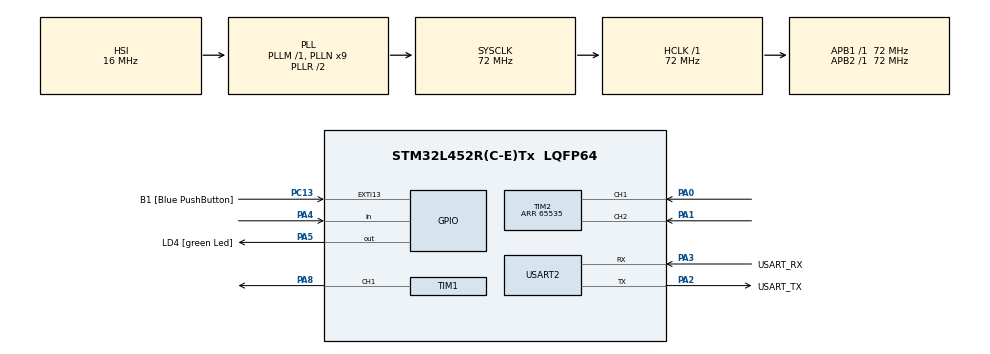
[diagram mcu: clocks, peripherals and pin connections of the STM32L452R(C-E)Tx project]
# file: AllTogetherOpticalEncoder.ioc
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Dma.Request0=TIM1_CH1
Dma.TIM1_CH1.0.Direction=DMA_MEMORY_TO_PERIPH
Dma.TIM1_CH1.0.Instance=DMA1_Channel2
Dma.TIM1_CH1.0.MemDataAlignment=DMA_MDATAALIGN_HALFWORD
Dma.TIM1_CH1.0.MemInc=DMA_MINC_ENABLE
Dma.TIM1_CH1.0.Mode=DMA_NORMAL
Dma.TIM1_CH1.0.PeriphDataAlignment=DMA_PDATAALIGN_HALFWORD
Dma.TIM1_CH1.0.PeriphInc=DMA_PINC_DISABLE
Dma.TIM1_CH1.0.Priority=DMA_PRIORITY_VERY_HIGH
Mcu.Family=STM32L4
Mcu.Name=STM32L452R(C-E)Tx
Mcu.Package=LQFP64
NVIC.DMA1_Channel2_IRQn=true\:0\:0\:false\:false\:true\:false\:true\:true
NVIC.PriorityGroup=NVIC_PRIORITYGROUP_4
NVIC.USART2_IRQn=true\:0\:0\:false\:false\:true\:true\:true\:true
PA0.Signal=S_TIM2_CH1
PA1.Signal=S_TIM2_CH2
PA13\ (JTMS/SWDIO).GPIO_Label=TMS
PA13\ (JTMS/SWDIO).Mode=Serial_Wire
PA13\ (JTMS/SWDIO).Signal=SYS_JTMS-SWDIO
PA14\ (JTCK/SWCLK).GPIO_Label=TCK
PA14\ (JTCK/SWCLK).Mode=Serial_Wire
PA14\ (JTCK/SWCLK).Signal=SYS_JTCK-SWCLK
PA2.GPIO_Label=USART_TX
PA2.GPIO_Mode=GPIO_MODE_AF_PP
PA2.GPIO_PuPd=GPIO_NOPULL
PA2.GPIO_Speed=GPIO_SPEED_FREQ_VERY_HIGH
PA2.Mode=Asynchronous
PA2.Signal=USART2_TX
PA3.GPIO_Label=USART_RX
PA3.GPIO_Mode=GPIO_MODE_AF_PP
PA3.GPIO_PuPd=GPIO_NOPULL
PA3.GPIO_Speed=GPIO_SPEED_FREQ_VERY_HIGH
PA3.Mode=Asynchronous
PA3.Signal=USART2_RX
PA4.GPIO_PuPd=GPIO_PULLUP
PA4.Signal=GPIO_Input
PA5.GPIO_Label=LD4 [green Led]
PA5.GPIO_ModeDefaultOutputPP=GPIO_MODE_OUTPUT_PP
PA5.GPIO_PuPd=GPIO_NOPULL
PA5.GPIO_Speed=GPIO_SPEED_FREQ_LOW
PA5.Signal=GPIO_Output
PA8.Signal=S_TIM1_CH1
PB3\ (JTDO/TRACESWO).GPIO_Label=SWO
PB3\ (JTDO/TRACESWO).Signal=SYS_JTDO-SWO
PC13.GPIO_Label=B1 [Blue PushButton]
PC13.GPIO_ModeDefaultEXTI=GPIO_MODE_IT_FALLING
PC13.GPIO_PuPd=GPIO_NOPULL
PC13.Signal=GPXTI13
PC14-OSC32_IN\ (PC14).Mode=LSE-External-Oscillator
PC14-OSC32_IN\ (PC14).Signal=RCC_OSC32_IN
PC15-OSC32_OUT\ (PC15).Mode=LSE-External-Oscillator
PC15-OSC32_OUT\ (PC15).Signal=RCC_OSC32_OUT
PH0-OSC_IN\ (PH0).Mode=HSE-External-Oscillator
PH0-OSC_IN\ (PH0).Signal=RCC_OSC_IN
PH1-OSC_OUT\ (PH1).Mode=HSE-External-Oscillator
PH1-OSC_OUT\ (PH1).Signal=RCC_OSC_OUT
ProjectManager.HeapSize=0x200
ProjectManager.StackSize=0x400
ProjectManager.TargetToolchain=STM32CubeIDE
RCC.ADCFreq_Value=64000000
RCC.AHBFreq_Value=72000000
RCC.APB1Freq_Value=72000000
RCC.APB1TimFreq_Value=72000000
RCC.APB2Freq_Value=72000000
RCC.APB2TimFreq_Value=72000000
RCC.CortexFreq_Value=72000000
RCC.HCLKFreq_Value=72000000
RCC.HSE_VALUE=8000000
RCC.HSI48_VALUE=48000000
RCC.HSI_VALUE=16000000
RCC.MSI_VALUE=4000000
RCC.PLLN=9
RCC.PLLSourceVirtual=RCC_PLLSOURCE_HSI
RCC.PREFETCH_ENABLE=1
RCC.SYSCLKFreq_VALUE=72000000
RCC.SYSCLKSource=RCC_SYSCLKSOURCE_PLLCLK
RCC.USBFreq_Value=64000000
RCC.VCOOutputFreq_Value=144000000
SH.S_TIM1_CH1.0=TIM1_CH1,PWM Generation1 CH1
SH.S_TIM2_CH1.0=TIM2_CH1,Encoder_Interface
SH.S_TIM2_CH2.0=TIM2_CH2,Encoder_Interface
TIM1.Channel-PWM\ Generation1\ CH1=TIM_CHANNEL_1
TIM1.Period=90-1
TIM1.RepetitionCounter=0
TIM2.AutoReloadPreload=TIM_AUTORELOAD_PRELOAD_ENABLE
TIM2.EncoderMode=TIM_ENCODERMODE_TI12
TIM2.IC1Filter=10
TIM2.Period=65535
USART2.VirtualMode-Asynchronous=VM_ASYNC
board=NUCLEO-L452RE

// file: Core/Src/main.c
/* USER CODE BEGIN Header */
/**
  ******************************************************************************
  * @file           : main.c
  * @brief          : Main program body
  ******************************************************************************
  * @attention
  *
  * Copyright (c) 2023 STMicroelectronics.
  * All rights reserved.
  *
  * This software is licensed under terms that can be found in the LICENSE file
  * in the root directory of this software component.
  * If no LICENSE file comes with this software, it is provided AS-IS.
  *
  ******************************************************************************
  */
/* USER CODE END Header */
#include "main.h"

/* USER CODE BEGIN Includes */
#include "math.h"
#include "stdio.h"
#include "stdlib.h"
#include "stm32l4xx_hal.h"
#define TX_TIMEOUT_MS 1000
#define WAIT_TIME_MS 100
#define WAIT_TIME_TEMPORAL_FIX_MS 100
#define EZ 1

/* USER CODE END Includes */

TIM_HandleTypeDef htim1;
TIM_HandleTypeDef htim2;
DMA_HandleTypeDef hdma_tim1_ch1;

UART_HandleTypeDef huart2;

void SystemClock_Config(void);
static void MX_GPIO_Init(void);
static void MX_DMA_Init(void);
static void MX_USART2_UART_Init(void);
static void MX_TIM1_Init(void);
static void MX_TIM2_Init(void);

/* USER CODE BEGIN 0 */

#define MAX_LED 4 //Number of leds being used

uint8_t LED_Data[MAX_LED][4]; //Variable for led data before brightness adjust
uint8_t LED_Bri[MAX_LED][4];  //Variable for led data after brightness adjust
uint16_t pwmData[(24*MAX_LED)+50];

void Set_LED (int LEDid, int Red, int Green, int Blue){
	LED_Data[LEDid][0] = LEDid;
	LED_Data[LEDid][1] = Green;
	LED_Data[LEDid][2] = Red;
	LED_Data[LEDid][3] = Blue;
}

void Set_Brightness_LED (float brightness)  // 0-1
{
	if (brightness > 1) brightness = 1;
	if (brightness < 0) brightness = 0;
	for (int i=0; i<MAX_LED; i++)
	{
		LED_Bri[i][0] = LED_Data[i][0];
		for (int j=1; j<4; j++)
		{
			LED_Bri[i][j] = (int)(LED_Data[i][j])/(brightness);
		}
	}
}

void Apply_LED (void)
{
	uint32_t indx=0;
	uint32_t color;

	for (int i= 0; i<MAX_LED; i++)
	{
		color = ((LED_Bri[i][1]<<16) | (LED_Bri[i][2]<<8) | (LED_Bri[i][3]));
		for (int i=23; i>=0; i--)
		{
			if (color&(1<<i))
			{
				pwmData[indx] = 60;  // 2/3 of 90
			}

			else pwmData[indx] = 30;  // 1/3 of 90

			indx++;
		}
	}

	for (int i=0; i<50; i++)
	{
		pwmData[indx] = 0;
		indx++;
	}

	HAL_TIM_PWM_Start_DMA(&htim1, TIM_CHANNEL_1, (uint32_t *)pwmData, indx);
	HAL_Delay(WAIT_TIME_TEMPORAL_FIX_MS);
	HAL_TIM_PWM_Stop_DMA(&htim1, TIM_CHANNEL_1);
}

int Get_Encoder_Val(void){
	return TIM2->CNT/4;
}

/* USER CODE END 0 */

int main(void)
{

  /* MCU Configuration--------------------------------------------------------*/

  /* Reset of all peripherals, Initializes the Flash interface and the Systick. */
  HAL_Init();

  /* Configure the system clock */
  SystemClock_Config();

  /* Initialize all configured peripherals */
  MX_GPIO_Init();
  MX_DMA_Init();
  MX_USART2_UART_Init();
  MX_TIM1_Init();
  MX_TIM2_Init();
  HAL_TIM_Encoder_Start(&htim2, TIM_CHANNEL_ALL);
  /* USER CODE BEGIN 2 */
  int i;
  for(i=0; i<MAX_LED; i++){
	  Set_LED(i, 255, 255, 255);
  }
  Set_Brightness_LED(0.1);
  Apply_LED();

  int step = 1;
  int Red = 255;
  int Green = 255;
  int Blue = 255;
  int defa = 0;
  int Cont_color = 0;
  int EncoderValP = (Get_Encoder_Val())*step; //Previous value for encoder
  int EncoderValC = 0; //Current value for encoder
  int EncoderDiff = 0;

  /* USER CODE END 2 */

  /* Infinite loop */
  /* USER CODE BEGIN WHILE */
  while (1)
  {
	  EncoderValC = (Get_Encoder_Val())*step;
	  EncoderDiff = EncoderValC - EncoderValP;
	  if(abs(EncoderDiff) > 255) EncoderDiff = 0;
	  if(Cont_color == 0){
		  Red += EncoderDiff;
		  if(Red < 0) Red = 0;
		  else if(Red > 255) Red = 255;
	  } else if(Cont_color == 1){
		  Green += EncoderDiff;
		  if(Green < 0) Green = 0;
		  else if(Green > 255) Green = 255;
	  } else if(Cont_color == 2){
		  Blue += EncoderDiff;
		  if(Blue < 0) Blue = 0;
		  else if(Blue > 255) Blue = 255;
	  }
	  if(HAL_GPIO_ReadPin(GPIOA, GPIO_PIN_4) == GPIO_PIN_RESET){
		  while(HAL_GPIO_ReadPin(GPIOA, GPIO_PIN_4) == GPIO_PIN_RESET){
			  defa = defa;
		  }
		  Cont_color = (Cont_color+1)%3;
	  }
	  for(i=0; i<MAX_LED; i++){
		  Set_LED(i, Red, Green, Blue);
	  }
	  Set_Brightness_LED(1);
	  Apply_LED();
	  if(EZ){
		  if(Cont_color == 0) printf("Red: %d, Green: %d, Blue: %d, Changing Red\r\n", Red, Green, Blue);
		  else if(Cont_color == 1) printf("Red: %d, Green: %d, Blue: %d, Changing Green\r\n", Red, Green, Blue);
		  else printf("Red: %d, Green: %d, Blue: %d, Changing Blue\r\n", Red, Green, Blue);
	  }
	  else{
		  if(Cont_color == 0){
			  printf("Red: %d \r\n", Red);
		  } else if(Cont_color == 1){
			  printf("Green: %d \r\n", Green);
		  } else{
			  printf("Blue: %d \r\n", Blue);
		  }
	  }

	  EncoderValP = EncoderValC;
    /* USER CODE END WHILE */

  }
}

void SystemClock_Config(void)
{
  RCC_OscInitTypeDef RCC_OscInitStruct = {0};
  RCC_ClkInitTypeDef RCC_ClkInitStruct = {0};

  /** Configure the main internal regulator output voltage
  */
  if (HAL_PWREx_ControlVoltageScaling(PWR_REGULATOR_VOLTAGE_SCALE1) != HAL_OK)
  {
    Error_Handler();
  }

  /** Initializes the RCC Oscillators according to the specified parameters
  * in the RCC_OscInitTypeDef structure.
  */
  RCC_OscInitStruct.OscillatorType = RCC_OSCILLATORTYPE_HSI;
  RCC_OscInitStruct.HSIState = RCC_HSI_ON;
  RCC_OscInitStruct.HSICalibrationValue = RCC_HSICALIBRATION_DEFAULT;
  RCC_OscInitStruct.PLL.PLLState = RCC_PLL_ON;
  RCC_OscInitStruct.PLL.PLLSource = RCC_PLLSOURCE_HSI;
  RCC_OscInitStruct.PLL.PLLM = 1;
  RCC_OscInitStruct.PLL.PLLN = 9;
  RCC_OscInitStruct.PLL.PLLP = RCC_PLLP_DIV7;
  RCC_OscInitStruct.PLL.PLLQ = RCC_PLLQ_DIV2;
  RCC_OscInitStruct.PLL.PLLR = RCC_PLLR_DIV2;
  if (HAL_RCC_OscConfig(&RCC_OscInitStruct) != HAL_OK)
  {
    Error_Handler();
  }

  /** Initializes the CPU, AHB and APB buses clocks
  */
  RCC_ClkInitStruct.ClockType = RCC_CLOCKTYPE_HCLK|RCC_CLOCKTYPE_SYSCLK
                              |RCC_CLOCKTYPE_PCLK1|RCC_CLOCKTYPE_PCLK2;
  RCC_ClkInitStruct.SYSCLKSource = RCC_SYSCLKSOURCE_PLLCLK;
  RCC_ClkInitStruct.AHBCLKDivider = RCC_SYSCLK_DIV1;
  RCC_ClkInitStruct.APB1CLKDivider = RCC_HCLK_DIV1;
  RCC_ClkInitStruct.APB2CLKDivider = RCC_HCLK_DIV1;

  if (HAL_RCC_ClockConfig(&RCC_ClkInitStruct, FLASH_LATENCY_4) != HAL_OK)
  {
    Error_Handler();
  }
}

static void MX_TIM1_Init(void)
{

  TIM_MasterConfigTypeDef sMasterConfig = {0};
  TIM_OC_InitTypeDef sConfigOC = {0};
  TIM_BreakDeadTimeConfigTypeDef sBreakDeadTimeConfig = {0};

  htim1.Instance = TIM1;
  htim1.Init.Prescaler = 0;
  htim1.Init.CounterMode = TIM_COUNTERMODE_UP;
  htim1.Init.Period = 90-1;
  htim1.Init.ClockDivision = TIM_CLOCKDIVISION_DIV1;
  htim1.Init.RepetitionCounter = 0;
  htim1.Init.AutoReloadPreload = TIM_AUTORELOAD_PRELOAD_DISABLE;
  if (HAL_TIM_PWM_Init(&htim1) != HAL_OK)
  {
    Error_Handler();
  }
  sMasterConfig.MasterOutputTrigger = TIM_TRGO_RESET;
  sMasterConfig.MasterOutputTrigger2 = TIM_TRGO2_RESET;
  sMasterConfig.MasterSlaveMode = TIM_MASTERSLAVEMODE_DISABLE;
  if (HAL_TIMEx_MasterConfigSynchronization(&htim1, &sMasterConfig) != HAL_OK)
  {
    Error_Handler();
  }
  sConfigOC.OCMode = TIM_OCMODE_PWM1;
  sConfigOC.Pulse = 0;
  sConfigOC.OCPolarity = TIM_OCPOLARITY_HIGH;
  sConfigOC.OCNPolarity = TIM_OCNPOLARITY_HIGH;
  sConfigOC.OCFastMode = TIM_OCFAST_DISABLE;
  sConfigOC.OCIdleState = TIM_OCIDLESTATE_RESET;
  sConfigOC.OCNIdleState = TIM_OCNIDLESTATE_RESET;
  if (HAL_TIM_PWM_ConfigChannel(&htim1, &sConfigOC, TIM_CHANNEL_1) != HAL_OK)
  {
    Error_Handler();
  }
  sBreakDeadTimeConfig.OffStateRunMode = TIM_OSSR_DISABLE;
  sBreakDeadTimeConfig.OffStateIDLEMode = TIM_OSSI_DISABLE;
  sBreakDeadTimeConfig.LockLevel = TIM_LOCKLEVEL_OFF;
  sBreakDeadTimeConfig.DeadTime = 0;
  sBreakDeadTimeConfig.BreakState = TIM_BREAK_DISABLE;
  sBreakDeadTimeConfig.BreakPolarity = TIM_BREAKPOLARITY_HIGH;
  sBreakDeadTimeConfig.BreakFilter = 0;
  sBreakDeadTimeConfig.Break2State = TIM_BREAK2_DISABLE;
  sBreakDeadTimeConfig.Break2Polarity = TIM_BREAK2POLARITY_HIGH;
  sBreakDeadTimeConfig.Break2Filter = 0;
  sBreakDeadTimeConfig.AutomaticOutput = TIM_AUTOMATICOUTPUT_DISABLE;
  if (HAL_TIMEx_ConfigBreakDeadTime(&htim1, &sBreakDeadTimeConfig) != HAL_OK)
  {
    Error_Handler();
  }
  HAL_TIM_MspPostInit(&htim1);

}

static void MX_TIM2_Init(void)
{

  TIM_Encoder_InitTypeDef sConfig = {0};
  TIM_MasterConfigTypeDef sMasterConfig = {0};

  htim2.Instance = TIM2;
  htim2.Init.Prescaler = 0;
  htim2.Init.CounterMode = TIM_COUNTERMODE_UP;
  htim2.Init.Period = 65535;
  htim2.Init.ClockDivision = TIM_CLOCKDIVISION_DIV1;
  htim2.Init.AutoReloadPreload = TIM_AUTORELOAD_PRELOAD_ENABLE;
  sConfig.EncoderMode = TIM_ENCODERMODE_TI12;
  sConfig.IC1Polarity = TIM_ICPOLARITY_RISING;
  sConfig.IC1Selection = TIM_ICSELECTION_DIRECTTI;
  sConfig.IC1Prescaler = TIM_ICPSC_DIV1;
  sConfig.IC1Filter = 10;
  sConfig.IC2Polarity = TIM_ICPOLARITY_RISING;
  sConfig.IC2Selection = TIM_ICSELECTION_DIRECTTI;
  sConfig.IC2Prescaler = TIM_ICPSC_DIV1;
  sConfig.IC2Filter = 0;
  if (HAL_TIM_Encoder_Init(&htim2, &sConfig) != HAL_OK)
  {
    Error_Handler();
  }
  sMasterConfig.MasterOutputTrigger = TIM_TRGO_RESET;
  sMasterConfig.MasterSlaveMode = TIM_MASTERSLAVEMODE_DISABLE;
  if (HAL_TIMEx_MasterConfigSynchronization(&htim2, &sMasterConfig) != HAL_OK)
  {
    Error_Handler();
  }

}

static void MX_USART2_UART_Init(void)
{

  huart2.Instance = USART2;
  huart2.Init.BaudRate = 115200;
  huart2.Init.WordLength = UART_WORDLENGTH_8B;
  huart2.Init.StopBits = UART_STOPBITS_1;
  huart2.Init.Parity = UART_PARITY_NONE;
  huart2.Init.Mode = UART_MODE_TX_RX;
  huart2.Init.HwFlowCtl = UART_HWCONTROL_NONE;
  huart2.Init.OverSampling = UART_OVERSAMPLING_16;
  huart2.Init.OneBitSampling = UART_ONE_BIT_SAMPLE_DISABLE;
  huart2.AdvancedInit.AdvFeatureInit = UART_ADVFEATURE_NO_INIT;
  if (HAL_UART_Init(&huart2) != HAL_OK)
  {
    Error_Handler();
  }

}

static void MX_DMA_Init(void)
{

  /* DMA controller clock enable */
  __HAL_RCC_DMA1_CLK_ENABLE();

  /* DMA interrupt init */
  /* DMA1_Channel2_IRQn interrupt configuration */
  HAL_NVIC_SetPriority(DMA1_Channel2_IRQn, 0, 0);
  HAL_NVIC_EnableIRQ(DMA1_Channel2_IRQn);

}

static void MX_GPIO_Init(void)
{
  GPIO_InitTypeDef GPIO_InitStruct = {0};

  /* GPIO Ports Clock Enable */
  __HAL_RCC_GPIOC_CLK_ENABLE();
  __HAL_RCC_GPIOH_CLK_ENABLE();
  __HAL_RCC_GPIOA_CLK_ENABLE();
  __HAL_RCC_GPIOB_CLK_ENABLE();

  /*Configure GPIO pin Output Level */
  HAL_GPIO_WritePin(LD4_GPIO_Port, LD4_Pin, GPIO_PIN_RESET);

  /*Configure GPIO pin : B1_Pin */
  GPIO_InitStruct.Pin = B1_Pin;
  GPIO_InitStruct.Mode = GPIO_MODE_IT_FALLING;
  GPIO_InitStruct.Pull = GPIO_NOPULL;
  HAL_GPIO_Init(B1_GPIO_Port, &GPIO_InitStruct);

  /*Configure GPIO pin : PA4 */
  GPIO_InitStruct.Pin = GPIO_PIN_4;
  GPIO_InitStruct.Mode = GPIO_MODE_INPUT;
  GPIO_InitStruct.Pull = GPIO_PULLUP;
  HAL_GPIO_Init(GPIOA, &GPIO_InitStruct);

  /*Configure GPIO pin : LD4_Pin */
  GPIO_InitStruct.Pin = LD4_Pin;
  GPIO_InitStruct.Mode = GPIO_MODE_OUTPUT_PP;
  GPIO_InitStruct.Pull = GPIO_NOPULL;
  GPIO_InitStruct.Speed = GPIO_SPEED_FREQ_LOW;
  HAL_GPIO_Init(LD4_GPIO_Port, &GPIO_InitStruct);

}

/* USER CODE BEGIN 4 */
int _write(int file, char *ptr, int len)
{
  if (HAL_UART_Transmit(&huart2, (uint8_t *)ptr, len, TX_TIMEOUT_MS) != HAL_OK)
  {
    Error_Handler();
  }

  return len;
}
/* USER CODE END 4 */

void Error_Handler(void)
{
  __disable_irq();
  while (1)
  {
  }
}
